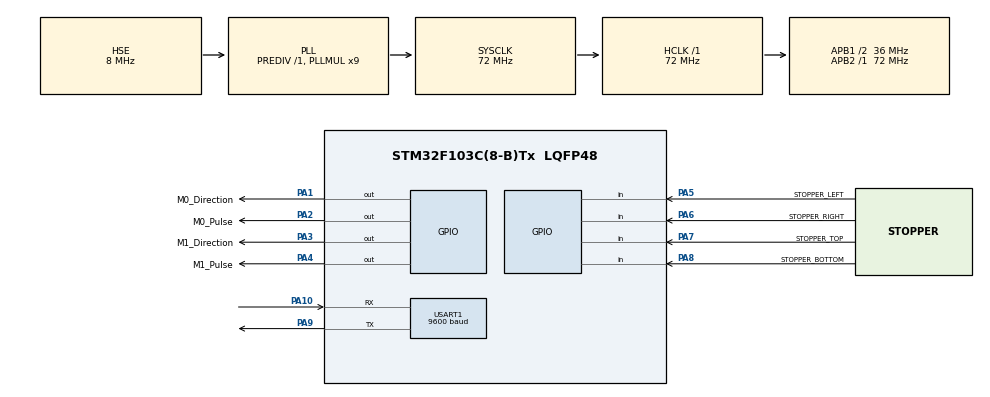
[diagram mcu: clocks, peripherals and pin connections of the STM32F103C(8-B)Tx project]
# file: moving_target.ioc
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Mcu.Family=STM32F1
Mcu.Name=STM32F103C(8-B)Tx
Mcu.Package=LQFP48
NVIC.PriorityGroup=NVIC_PRIORITYGROUP_4
NVIC.TIM1_UP_IRQn=true\:0\:0\:false\:false\:true\:true\:true\:true
PA1.GPIO_Label=M0_Direction
PA1.Signal=GPIO_Output
PA10.Mode=Asynchronous
PA10.Signal=USART1_RX
PA13.Mode=Serial_Wire
PA13.Signal=SYS_JTMS-SWDIO
PA14.Mode=Serial_Wire
PA14.Signal=SYS_JTCK-SWCLK
PA2.GPIO_Label=M0_Pulse
PA2.Signal=GPIO_Output
PA3.GPIO_Label=M1_Direction
PA3.Signal=GPIO_Output
PA4.GPIO_Label=M1_Pulse
PA4.Signal=GPIO_Output
PA5.GPIO_Label=STOPPER_LEFT
PA5.Signal=GPIO_Input
PA6.GPIO_Label=STOPPER_RIGHT
PA6.Signal=GPIO_Input
PA7.GPIO_Label=STOPPER_TOP
PA7.Signal=GPIO_Input
PA8.GPIO_Label=STOPPER_BOTTOM
PA8.Signal=GPIO_Input
PA9.Mode=Asynchronous
PA9.Signal=USART1_TX
PD0-OSC_IN.Mode=HSE-External-Oscillator
PD0-OSC_IN.Signal=RCC_OSC_IN
PD1-OSC_OUT.Mode=HSE-External-Oscillator
PD1-OSC_OUT.Signal=RCC_OSC_OUT
ProjectManager.HeapSize=0x200
ProjectManager.StackSize=0x400
ProjectManager.TargetToolchain=STM32CubeIDE
RCC.AHBFreq_Value=72000000
RCC.APB1CLKDivider=RCC_HCLK_DIV2
RCC.APB1Freq_Value=36000000
RCC.APB1TimFreq_Value=72000000
RCC.APB2Freq_Value=72000000
RCC.APB2TimFreq_Value=72000000
RCC.HCLKFreq_Value=72000000
RCC.PLLMUL=RCC_PLL_MUL9
RCC.PLLSourceVirtual=RCC_PLLSOURCE_HSE
RCC.SYSCLKFreq_VALUE=72000000
RCC.SYSCLKSource=RCC_SYSCLKSOURCE_PLLCLK
RCC.USBFreq_Value=72000000
TIM1.Period=100
TIM1.Prescaler=719
USART1.BaudRate=9600
USART1.VirtualMode=VM_ASYNC
VP_TIM1_VS_ClockSourceINT.Mode=Internal
board=custom

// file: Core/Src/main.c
/* USER CODE BEGIN Header */
/**
  ******************************************************************************
  * @file           : main.c
  * @brief          : Main program body
  ******************************************************************************
  * @attention
  *
  * Copyright (c) 2025 STMicroelectronics.
  * All rights reserved.
  *
  * This software is licensed under terms that can be found in the LICENSE file
  * in the root directory of this software component.
  * If no LICENSE file comes with this software, it is provided AS-IS.
  *
  ******************************************************************************
  */
/* USER CODE END Header */
#include "main.h"

TIM_HandleTypeDef htim1;

UART_HandleTypeDef huart1;

/* USER CODE BEGIN PV */
uint16_t millis = 0;
uint16_t m_millis = 0;
uint16_t m_pulse_period = 20;
uint8_t m0_direction = 0;
uint8_t m1_direction = 0;
uint8_t m0_enable = 0;
uint8_t m1_enable = 0;

uint16_t test_millis = 0;
uint16_t test_period = 5000;
uint8_t test_mode = 0;
/* USER CODE END PV */

void SystemClock_Config(void);
static void MX_GPIO_Init(void);
static void MX_TIM1_Init(void);
static void MX_USART1_UART_Init(void);
/* USER CODE BEGIN PFP */
void One_Second_Tick(void);
void Move_Engines(void);
void Set_Engine_Modes(BOT_Direction direction);
BOT_Direction Validate_Direction(BOT_Direction direction);
/* USER CODE END PFP */

int main(void)
{

  /* MCU Configuration--------------------------------------------------------*/

  /* Reset of all peripherals, Initializes the Flash interface and the Systick. */
  HAL_Init();

  /* Configure the system clock */
  SystemClock_Config();

  /* Initialize all configured peripherals */
  MX_GPIO_Init();
  MX_TIM1_Init();
  MX_USART1_UART_Init();
  /* USER CODE BEGIN 2 */

  USART1->DR = 0x3E; //Start MCU debug signal
  HAL_TIM_Base_Start_IT(&htim1); // start timer

  /* USER CODE END 2 */

  /* Infinite loop */
  while (1)
  {

  }
}

void SystemClock_Config(void)
{
  RCC_OscInitTypeDef RCC_OscInitStruct = {0};
  RCC_ClkInitTypeDef RCC_ClkInitStruct = {0};

  /** Initializes the RCC Oscillators according to the specified parameters
  * in the RCC_OscInitTypeDef structure.
  */
  RCC_OscInitStruct.OscillatorType = RCC_OSCILLATORTYPE_HSE;
  RCC_OscInitStruct.HSEState = RCC_HSE_ON;
  RCC_OscInitStruct.HSEPredivValue = RCC_HSE_PREDIV_DIV1;
  RCC_OscInitStruct.HSIState = RCC_HSI_ON;
  RCC_OscInitStruct.PLL.PLLState = RCC_PLL_ON;
  RCC_OscInitStruct.PLL.PLLSource = RCC_PLLSOURCE_HSE;
  RCC_OscInitStruct.PLL.PLLMUL = RCC_PLL_MUL9;
  if (HAL_RCC_OscConfig(&RCC_OscInitStruct) != HAL_OK)
  {
    Error_Handler();
  }

  /** Initializes the CPU, AHB and APB buses clocks
  */
  RCC_ClkInitStruct.ClockType = RCC_CLOCKTYPE_HCLK|RCC_CLOCKTYPE_SYSCLK
                              |RCC_CLOCKTYPE_PCLK1|RCC_CLOCKTYPE_PCLK2;
  RCC_ClkInitStruct.SYSCLKSource = RCC_SYSCLKSOURCE_PLLCLK;
  RCC_ClkInitStruct.AHBCLKDivider = RCC_SYSCLK_DIV1;
  RCC_ClkInitStruct.APB1CLKDivider = RCC_HCLK_DIV2;
  RCC_ClkInitStruct.APB2CLKDivider = RCC_HCLK_DIV1;

  if (HAL_RCC_ClockConfig(&RCC_ClkInitStruct, FLASH_LATENCY_2) != HAL_OK)
  {
    Error_Handler();
  }
}

static void MX_TIM1_Init(void)
{

  TIM_ClockConfigTypeDef sClockSourceConfig = {0};
  TIM_MasterConfigTypeDef sMasterConfig = {0};

  htim1.Instance = TIM1;
  htim1.Init.Prescaler = 719;
  htim1.Init.CounterMode = TIM_COUNTERMODE_UP;
  htim1.Init.Period = 100;
  htim1.Init.ClockDivision = TIM_CLOCKDIVISION_DIV1;
  htim1.Init.RepetitionCounter = 0;
  htim1.Init.AutoReloadPreload = TIM_AUTORELOAD_PRELOAD_DISABLE;
  if (HAL_TIM_Base_Init(&htim1) != HAL_OK)
  {
    Error_Handler();
  }
  sClockSourceConfig.ClockSource = TIM_CLOCKSOURCE_INTERNAL;
  if (HAL_TIM_ConfigClockSource(&htim1, &sClockSourceConfig) != HAL_OK)
  {
    Error_Handler();
  }
  sMasterConfig.MasterOutputTrigger = TIM_TRGO_RESET;
  sMasterConfig.MasterSlaveMode = TIM_MASTERSLAVEMODE_DISABLE;
  if (HAL_TIMEx_MasterConfigSynchronization(&htim1, &sMasterConfig) != HAL_OK)
  {
    Error_Handler();
  }

}

static void MX_USART1_UART_Init(void)
{

  huart1.Instance = USART1;
  huart1.Init.BaudRate = 9600;
  huart1.Init.WordLength = UART_WORDLENGTH_8B;
  huart1.Init.StopBits = UART_STOPBITS_1;
  huart1.Init.Parity = UART_PARITY_NONE;
  huart1.Init.Mode = UART_MODE_TX_RX;
  huart1.Init.HwFlowCtl = UART_HWCONTROL_NONE;
  huart1.Init.OverSampling = UART_OVERSAMPLING_16;
  if (HAL_UART_Init(&huart1) != HAL_OK)
  {
    Error_Handler();
  }

}

static void MX_GPIO_Init(void)
{
  GPIO_InitTypeDef GPIO_InitStruct = {0};

  /* GPIO Ports Clock Enable */
  __HAL_RCC_GPIOD_CLK_ENABLE();
  __HAL_RCC_GPIOA_CLK_ENABLE();

  /*Configure GPIO pin Output Level */
  HAL_GPIO_WritePin(GPIOA, M0_Direction_Pin|M0_Pulse_Pin|M1_Direction_Pin|M1_Pulse_Pin, GPIO_PIN_RESET);

  /*Configure GPIO pins : M0_Direction_Pin M0_Pulse_Pin M1_Direction_Pin M1_Pulse_Pin */
  GPIO_InitStruct.Pin = M0_Direction_Pin|M0_Pulse_Pin|M1_Direction_Pin|M1_Pulse_Pin;
  GPIO_InitStruct.Mode = GPIO_MODE_OUTPUT_PP;
  GPIO_InitStruct.Pull = GPIO_NOPULL;
  GPIO_InitStruct.Speed = GPIO_SPEED_FREQ_LOW;
  HAL_GPIO_Init(GPIOA, &GPIO_InitStruct);

  /*Configure GPIO pins : STOPPER_LEFT_Pin STOPPER_RIGHT_Pin STOPPER_TOP_Pin STOPPER_BOTTOM_Pin */
  GPIO_InitStruct.Pin = STOPPER_LEFT_Pin|STOPPER_RIGHT_Pin|STOPPER_TOP_Pin|STOPPER_BOTTOM_Pin;
  GPIO_InitStruct.Mode = GPIO_MODE_INPUT;
  GPIO_InitStruct.Pull = GPIO_NOPULL;
  HAL_GPIO_Init(GPIOA, &GPIO_InitStruct);

}

/* USER CODE BEGIN 4 */

//Process timer interrupts
void HAL_TIM_PeriodElapsedCallback(TIM_HandleTypeDef *htim){

	if(htim == &htim1){ //Check if it's TIM1
		//One second timer action
    millis++;
		if (millis == 1000){
			millis = 0;
			One_Second_Tick();
		}

    //Engime moving action
    m_millis++;
    if (m_millis >= m_pulse_period){
      m_millis = 0;
      Move_Engines();
    }

    m0_enable = HAL_GPIO_ReadPin(GPIOA, STOPPER_LEFT_Pin);

    //Reset pulse pins
    if (HAL_GPIO_ReadPin(GPIOA, M0_Pulse_Pin)) HAL_GPIO_WritePin(GPIOA, M0_Pulse_Pin, GPIO_PIN_RESET);
    if (HAL_GPIO_ReadPin(GPIOA, M1_Pulse_Pin)) HAL_GPIO_WritePin(GPIOA, M1_Pulse_Pin, GPIO_PIN_RESET);

    //Switch test state
    //test_millis++;
    if (test_millis >= test_period){
      test_millis = 0;

      switch (test_mode){
        case 0:
          USART1->DR = 0x30;
          test_mode = 1;
          m0_direction = 0;
          m0_enable = 1;
          m1_direction = 0;
          m1_enable = 0;
          break;

        case 1:
          USART1->DR = 0x31;
          test_mode = 2;
          m0_direction = 0;
          m0_enable = 0;
          m1_direction = 0;
          m1_enable = 1;
          break;

        case 2:
          USART1->DR = 0x32;
          test_mode = 3;
          m0_direction = 1;
          m0_enable = 1;
          m1_direction = 0;
          m1_enable = 0;
          break;

        default:
          USART1->DR = 0x33;
          test_mode = 0;
          m0_direction = 1;
          m0_enable = 0;
          m1_direction = 1;
          m1_enable = 1;
          break;
      }
    }
	}
}

//Ticks once per second
void One_Second_Tick(void){

	USART1->DR = 0x2E; //Send char '.' to UART (to test that UART and timer work)

}

void Move_Engines(void){
  if (m0_enable){
    HAL_GPIO_WritePin(GPIOA, M0_Direction_Pin, m0_direction);
    HAL_GPIO_WritePin(GPIOA, M0_Pulse_Pin, GPIO_PIN_SET);
  }
  if (m1_enable){
    HAL_GPIO_WritePin(GPIOA, M1_Direction_Pin, m1_direction);
    HAL_GPIO_WritePin(GPIOA, M1_Pulse_Pin, GPIO_PIN_SET);
  }
}

void Set_Engine_Modes(BOT_Direction direction){
	switch (direction){

    case DIR_STOP:
      m0_enable = 0;
      m1_enable = 0;
      break;

    case DIR_TOP:
      m0_enable = 1;
      m0_direction = 1;
      m1_enable = 1;
      m1_direction = 0;
      break;

    case DIR_TOP_RIGHT:
      m0_enable = 0;
      m0_direction = 0;
      m1_enable = 1;
      m1_direction = 0;
      break;

    case DIR_RIGHT:
      m0_enable = 1;
      m0_direction = 0;
      m1_enable = 1;
      m1_direction = 0;
      break;

    case DIR_BOTTOM_RIGHT:
      m0_enable = 1;
      m0_direction = 0;
      m1_enable = 0;
      m1_direction = 0;
      break;

    case DIR_BOTTOM:
      m0_enable = 1;
      m0_direction = 0;
      m1_enable = 1;
      m1_direction = 1;
      break;

    case DIR_BOTTOM_LEFT:
      m0_enable = 0;
      m0_direction = 0;
      m1_enable = 1;
      m1_direction = 1;
      break;

    case DIR_LEFT:
      m0_enable = 1;
      m0_direction = 1;
      m1_enable = 1;
      m1_direction = 1;
      break;

    case DIR_TOP_LEFT:
      m0_enable = 1;
      m0_direction = 1;
      m1_enable = 0;
      m1_direction = 0;
      break;

	}
}

BOT_Direction Validate_Direction(BOT_Direction direction){

  if (HAL_GPIO_ReadPin(GPIOA, STOPPER_LEFT_Pin)){
    switch (direction){
      case DIR_LEFT:
        direction = DIR_STOP;
        break;
      case DIR_BOTTOM_LEFT:
        direction = DIR_BOTTOM;
        break;
      case DIR_TOP_LEFT:
        direction = DIR_TOP;
        break;
      default:
        break;
    }
  }

  if (HAL_GPIO_ReadPin(GPIOA, STOPPER_RIGHT_Pin)){
    switch (direction){
      case DIR_RIGHT:
        direction = DIR_STOP;
        break;
      case DIR_BOTTOM_RIGHT:
        direction = DIR_BOTTOM;
        break;
      case DIR_TOP_RIGHT:
        direction = DIR_TOP;
        break;
      default:
        break;
    }
  }

  if (HAL_GPIO_ReadPin(GPIOA, STOPPER_TOP_Pin)){
    switch (direction){
      case DIR_TOP:
        direction = DIR_STOP;
        break;
      case DIR_TOP_LEFT:
        direction = DIR_LEFT;
        break;
      case DIR_TOP_RIGHT:
        direction = DIR_RIGHT;
        break;
      default:
        break;
    }
  }

  if (HAL_GPIO_ReadPin(GPIOA, STOPPER_BOTTOM_Pin)){
    switch (direction){
      case DIR_BOTTOM:
        direction = DIR_STOP;
        break;
      case DIR_BOTTOM_LEFT:
        direction = DIR_LEFT;
        break;
      case DIR_BOTTOM_RIGHT:
        direction = DIR_RIGHT;
        break;
      default:
        break;
    }
  }

  return direction;

}

/* USER CODE END 4 */

void Error_Handler(void)
{
  __disable_irq();
  while (1)
  {
  }
}
